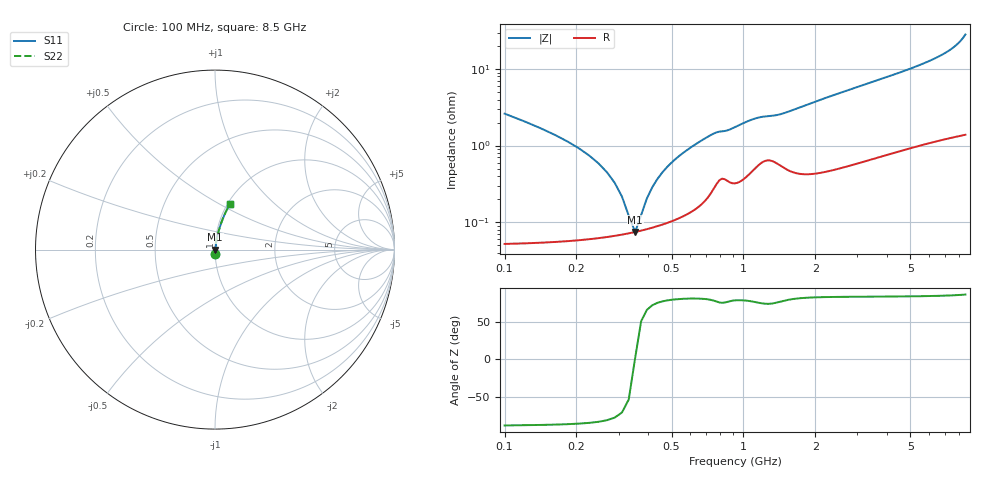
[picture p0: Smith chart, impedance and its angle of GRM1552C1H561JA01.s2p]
!Murata Part Number: GRM1552C1H561JA01
!These Parameters are Measured in Series Mode Connection
!Data Generated on Mar 30, 2021
!  o--ll--o
!Port1  Port2
!  o------o
!Operation Temp=25[degC], DC Bias Voltage=0[V]
!Freq. Start=100[MHz] Stop=9[GHz] 401[Steps]
# Hz S RI R 50
!Freq.(Hz) S11(Real) S11(Imag) S21(Real) S21(Imag) S12(Real) S12(Imag) S22(Real) S22(Imag)
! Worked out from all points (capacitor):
!   401 points, 100 MHz to 8.5 GHz, reference 50 ohm
!   read as one part in series: C = 559 pF near 142 MHz
!   lowest |Z| = 74.3 mohm at 352 MHz (marker M1)
!   series resonance near 351.5 MHz, so ESL is about 370 pH
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1e8  0.0012 -0.0261  0.9988 0.0261  0.9988 0.0261  0.0012 -0.0261
1.42e8  0.000819 -0.0167  0.9992 0.0167  0.9992 0.0167  0.000819 -0.0167
2.26e8  0.000652 -0.00738  0.9993 0.00738  0.9993 0.00738  0.000652 -0.00738
2.68e8  0.000658 -0.00445  0.9993 0.00445  0.9993 0.00445  0.000658 -0.00445
3.1e8  0.00069 -0.00204  0.9993 0.00204  0.9993 0.00204  0.00069 -0.00204
3.31e8  0.000714 -0.000977  0.9993 0.000977  0.9993 0.000977  0.000714 -0.000977
3.52e8  0.000743 2.23e-05  0.9993 -2.23e-05  0.9993 -2.23e-05  0.000743 2.23e-05
3.73e8  0.000775 0.000965  0.9992 -0.000965  0.9992 -0.000965  0.000775 0.000965
3.94e8  0.000811 0.00186  0.9992 -0.00186  0.9992 -0.00186  0.000811 0.00186
4.36e8  0.000896 0.00354  0.9991 -0.00354  0.9991 -0.00354  0.000896 0.00354
4.99e8  0.00106 0.00585  0.9989 -0.00585  0.9989 -0.00585  0.00106 0.00585
5.83e8  0.00135 0.00872  0.9987 -0.00872  0.9987 -0.00872  0.00135 0.00872
7.09e8  0.00225 0.0128  0.9978 -0.0128  0.9978 -0.0128  0.00225 0.0128
1.108e9  0.00532 0.0216  0.9947 -0.0216  0.9947 -0.0216  0.00532 0.0216
1.507e9  0.0056 0.0263  0.9944 -0.0263  0.9944 -0.0263  0.0056 0.0263
2.116e9  0.00596 0.0394  0.994 -0.0394  0.994 -0.0394  0.00596 0.0394
2.914e9  0.00873 0.0553  0.9913 -0.0553  0.9913 -0.0553  0.00873 0.0553
4.3e9  0.015 0.083  0.985 -0.083  0.985 -0.083  0.015 0.083
5.707e9  0.0237 0.1147  0.9763 -0.1147  0.9763 -0.1147  0.0237 0.1147
7.114e9  0.0383 0.1588  0.9617 -0.1588  0.9617 -0.1588  0.0383 0.1588
7.891e9  0.055 0.1991  0.945 -0.1991  0.945 -0.1991  0.055 0.1991
8.5e9  0.0848 0.2551  0.9152 -0.2551  0.9152 -0.2551  0.0848 0.2551
